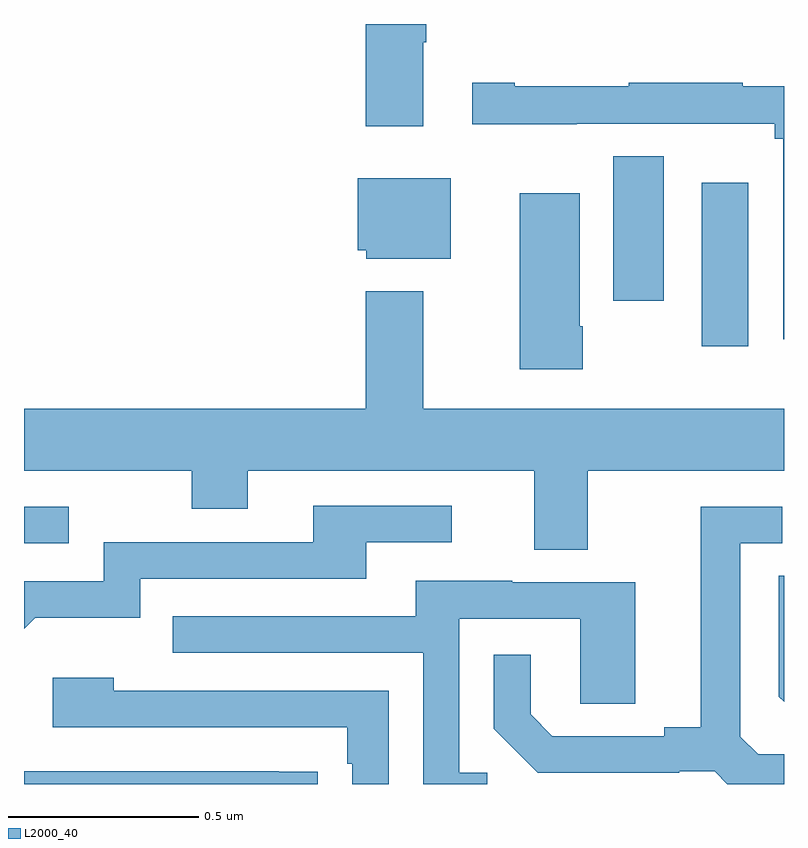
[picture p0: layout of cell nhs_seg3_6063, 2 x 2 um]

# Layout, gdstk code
import gdstk
lib = gdstk.Library(unit=1e-6, precision=1e-09)
def R(c, l, rs):  # rectangles x0, y0, x1, y1
    for r in rs: c.add(gdstk.rectangle(r[:2], r[2:], *l))
def P(c, l, *ps):  # polygons
    for p in ps: c.add(gdstk.Polygon(p, *l))
L2000_40 = (2000, 40)

nhs_seg3_6063 = lib.new_cell('nhs_seg3_6063')
R(nhs_seg3_6063, L2000_40, [(186,726.033,186.118,726.129), (187.784,726.552,187.906,726.982), (187.55,726.672,187.684,727.052)])
P(nhs_seg3_6063, L2000_40, [(187.051,727.352),(187.059,727.352),(187.059,727.4),(186.899,727.4),(186.899,727.131),(187.051,727.131)],
  [(188,727.236),(187.892,727.236),(187.892,727.246),(187.591,727.246),(187.591,727.236),(187.291,727.236),(187.291,727.246),(187.179,727.246),(187.179,727.136),(187.454,727.136),(187.454,727.137),(187.976,727.137),(187.976,727.098),(187.998,727.098),(187.998,726.57),(188,726.57)],
  [(187.123,726.994),(186.878,726.994),(186.878,726.804),(186.9,726.804),(186.9,726.782),(187.123,726.782)],
  [(187.47,726.604),(187.462,726.604),(187.462,726.955),(187.304,726.955),(187.304,726.492),(187.47,726.492)],
  [(187.483,726.224),(188,726.224),(188,726.388),(187.051,726.388),(187.051,726.697),(186.899,726.697),(186.899,726.388),(186,726.388),(186,726.224),(186.442,726.224),(186.442,726.125),(186.589,726.125),(186.589,726.224),(187.343,726.224),(187.343,726.016),(187.483,726.016)],
  [(186.029,725.837),(186.306,725.837),(186.306,725.94),(186.901,725.94),(186.901,726.036),(187.126,726.036),(187.126,726.132),(186.761,726.132),(186.761,726.036),(186.21,726.036),(186.21,725.934),(186,725.934),(186,725.808)],
  [(188,725.478),(187.932,725.478),(187.885,725.525),(187.885,726.033),(187.996,726.033),(187.996,726.129),(187.781,726.129),(187.781,725.549),(187.685,725.549),(187.685,725.526),(187.39,725.526),(187.333,725.583),(187.333,725.74),(187.236,725.74),(187.236,725.546),(187.352,725.43),(187.724,725.43),(187.724,725.433),(187.818,725.433),(187.851,725.4),(188,725.4)],
  [(188,725.948),(187.986,725.948),(187.986,725.63),(188,725.616)],
  [(187.219,725.43),(187.146,725.43),(187.146,725.835),(187.464,725.835),(187.464,725.611),(187.609,725.611),(187.609,725.931),(187.285,725.931),(187.285,725.935),(187.031,725.935),(187.031,725.841),(186.391,725.841),(186.391,725.745),(187.05,725.745),(187.05,725.4),(187.219,725.4)],
  [(186.96,725.646),(186.236,725.646),(186.236,725.68),(186.075,725.68),(186.075,725.55),(186.851,725.55),(186.851,725.453),(186.864,725.453),(186.864,725.4),(186.96,725.4)],
  [(186.773,725.432),(186.671,725.432),(186.671,725.433),(186,725.433),(186,725.4),(186.773,725.4)])

lib.write_gds('nhs_seg3_6063.gds')
